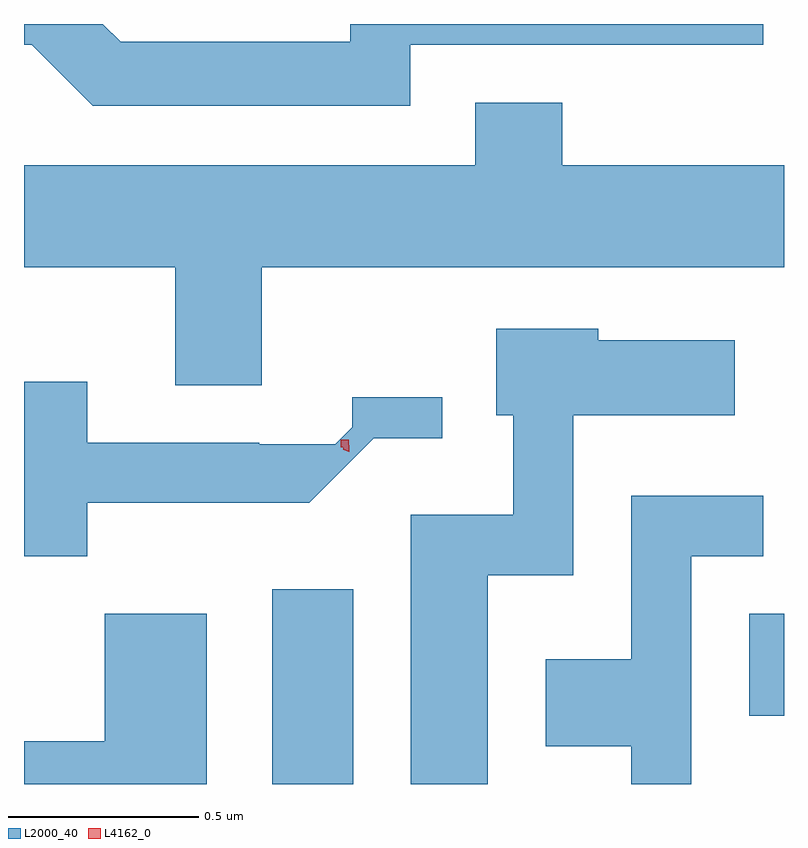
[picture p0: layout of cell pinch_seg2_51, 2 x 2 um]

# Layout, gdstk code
import gdstk
lib = gdstk.Library(unit=1e-6, precision=1e-09)
def R(c, l, rs):  # rectangles x0, y0, x1, y1
    for r in rs: c.add(gdstk.rectangle(r[:2], r[2:], *l))
def P(c, l, *ps):  # polygons
    for p in ps: c.add(gdstk.Polygon(p, *l))
L2000_40 = (2000, 40)
L4162_0 = (4162, 0)

pinch_seg2_51 = lib.new_cell('pinch_seg2_51')
R(pinch_seg2_51, L2000_40, [(1104.036,1100.236,1104.249,1100.749), (1105.291,1100.416,1105.383,1100.684)])
P(pinch_seg2_51, L2000_40, [(1104.399,1102.181),(1105.328,1102.181),(1105.328,1102.236),(1104.241,1102.236),(1104.241,1102.189),(1103.637,1102.189),(1103.59,1102.236),(1103.383,1102.236),(1103.383,1102.181),(1103.404,1102.181),(1103.564,1102.021),(1104.399,1102.021)],
  [(1104.009,1101.596),(1105.383,1101.596),(1105.383,1101.864),(1104.799,1101.864),(1104.799,1102.029),(1104.571,1102.029),(1104.571,1101.864),(1103.383,1101.864),(1103.383,1101.596),(1103.781,1101.596),(1103.781,1101.286),(1104.009,1101.286)],
  [(1104.604,1100.786),(1104.829,1100.786),(1104.829,1101.206),(1105.254,1101.206),(1105.254,1101.404),(1104.894,1101.404),(1104.894,1101.434),(1104.626,1101.434),(1104.626,1101.206),(1104.671,1101.206),(1104.671,1100.944),(1104.401,1100.944),(1104.401,1100.236),(1104.604,1100.236)],
  [(1103.549,1100.976),(1104.134,1100.976),(1104.304,1101.146),(1104.483,1101.146),(1104.483,1101.254),(1104.247,1101.254),(1104.247,1101.175),(1104.202,1101.13),(1104.002,1101.13),(1104.002,1101.134),(1103.549,1101.134),(1103.549,1101.294),(1103.383,1101.294),(1103.383,1100.836),(1103.549,1100.836)],
  [(1105.139,1100.836),(1105.328,1100.836),(1105.328,1100.994),(1104.981,1100.994),(1104.981,1100.564),(1104.756,1100.564),(1104.756,1100.336),(1104.981,1100.336),(1104.981,1100.236),(1105.139,1100.236)],
  [(1103.864,1100.684),(1103.596,1100.684),(1103.596,1100.349),(1103.383,1100.349),(1103.383,1100.236),(1103.864,1100.236)])
R(pinch_seg2_51, L4162_0, [(1104.217,1101.122,1104.237,1101.142)])
P(pinch_seg2_51, L4162_0, [(1104.238,1101.111),(1104.223,1101.116),(1104.222,1101.131),(1104.222,1101.132),(1104.223,1101.132),(1104.239,1101.128),(1104.239,1101.111),(1104.239,1101.111)])

lib.write_gds('pinch_seg2_51.gds')
